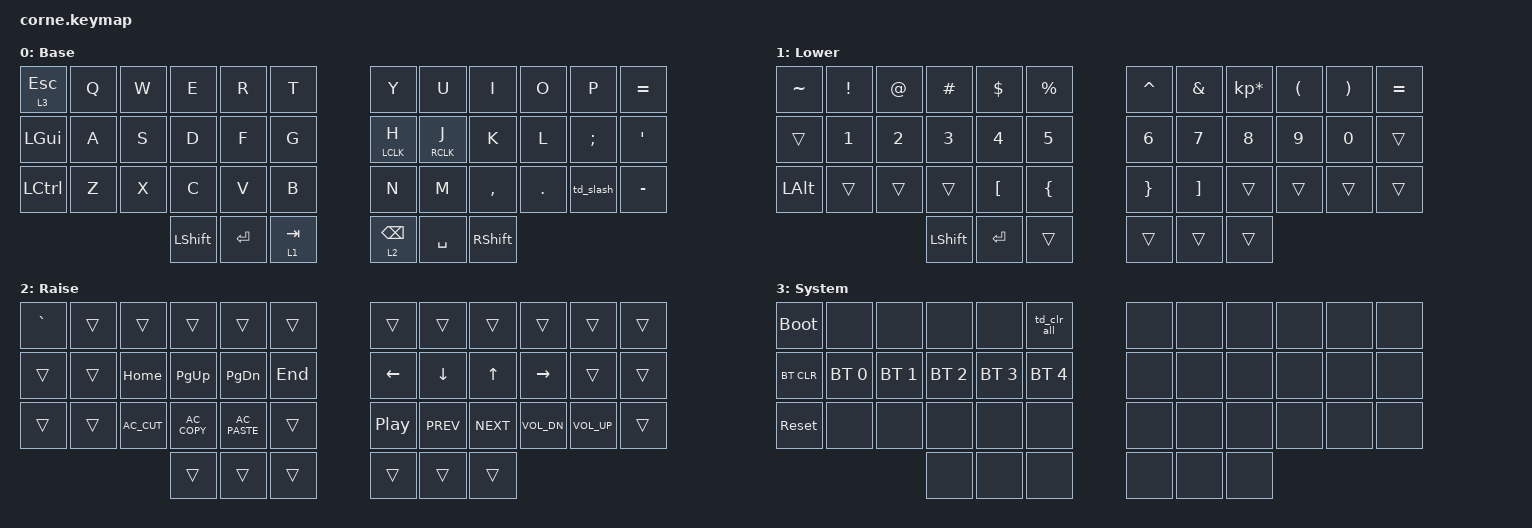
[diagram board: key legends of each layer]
/*
 * Copyright (c) 2020 The ZMK Contributors
 *
 * SPDX-License-Identifier: MIT
 */

#include <behaviors.dtsi>
#include <dt-bindings/zmk/keys.h>
#include <dt-bindings/zmk/bt.h>
#include <dt-bindings/zmk/pointing.h>

/ {
        behaviors {
                lt: layer_tap {
                        compatible = "zmk,behavior-hold-tap";
                        #binding-cells = <2>;
                        flavor = "tap-preferred";
                        tapping-term-ms = <200>;
                        quick-tap-ms = <175>;  // enables key repeat
                        require-prior-idle-ms = <125>;
                        bindings = <&mo>, <&kp>;
                };
                
                td_slash: tap_dance_slash {
                        compatible = "zmk,behavior-tap-dance";
                        #binding-cells = <0>;
                        tapping-term-ms = <200>;
                        bindings = <&kp FSLH>, <&kp BSLH>;
                };

                ht_esc_sys: hold_tap_esc_system {
                        compatible = "zmk,behavior-hold-tap";
                        #binding-cells = <2>;
                        flavor = "tap-preferred";
                        tapping-term-ms = <5000>;  // 5 second hold for system layer
                        bindings = <&mo>, <&kp>;
                };

                mm: mouse_hold_tap {  // tap = key, hold = mouse button (H/J clicks)
                        compatible = "zmk,behavior-hold-tap";
                        #binding-cells = <2>;
                        flavor = "tap-preferred";        // never misfire a click while typing
                        tapping-term-ms = <150>;         // shorter = snappier click, small misfire risk on word-initial h/j
                        require-prior-idle-ms = <150>;   // mid-word h/j stay letters
                        bindings = <&mkp>, <&kp>;
                };

                td_clr_all: tap_dance_bt_clr_all {
                        compatible = "zmk,behavior-tap-dance";
                        #binding-cells = <0>;
                        tapping-term-ms = <300>;
                        bindings = <&none>, <&bt BT_CLR_ALL>;  // double-tap required
                };
        };

        keymap {
                compatible = "zmk,keymap";

                default_layer {
// -----------------------------------------------------------------------------------------
// | ESC/SYS |  Q  |  W  |  E  |  R  |  T  |   |  Y  |  U   |  I  |  O  |  P  |  =   |
// |   GUI   |  A  |  S  |  D  |  F  |  G  |   | H/L< | J/R< |  K  |  L  |  ;  |  '   |
// |   CTL   |  Z  |  X  |  C  |  V  |  B  |   |  N  |  M   |  ,  |  .  | //\ |  -   |
//                      | SHIFT | ENTER | TAB/L |   | BSPC/R | SPACE | SHIFT |   (thumb rolls ball; hold H = left click/drag, hold J = right click)
                        display-name = "Base";
                        bindings = <
   &ht_esc_sys 3 ESC &kp Q &kp W &kp E &kp R &kp T   &kp Y &kp U &kp I      &kp O    &kp P    &kp EQUAL
   &kp LGUI  &kp A &kp S &kp D &kp F &kp G   &mm LCLK H &mm RCLK J &kp K      &kp L    &kp SEMI &kp SQT
   &kp LCTRL &kp Z &kp X &kp C &kp V &kp B   &kp N &kp M &kp COMMA  &kp DOT  &td_slash &kp MINUS
                        &kp LSHIFT  &kp ENTER  &lt 1 TAB   &lt 2 BSPC  &kp SPACE  &kp RSHIFT

                        >;
                };
                lower_layer {
// -----------------------------------------------------------------------------------------
// |   ~  |  !  |  @  |  #  |  $  |  %   |   |  ^  |  &  |  *  |  (  |  )  |  =   |
// | GUI  |  1  |  2  |  3  |  4  |  5   |   |  6  |  7  |  8  |  9  |  0  |      |
// | LALT |     |     |     |  [  |  {   |   |  }  |  ]  |     |     |     |      |
//                    | LSHFT| ENTER|    |   |     |     |     |
                        display-name = "Lower";
                        bindings = <
   &kp TILDE &kp EXCL &kp AT &kp HASH &kp DOLLAR &kp PRCNT   &kp CARET &kp AMPS &kp KP_MULTIPLY &kp LPAR &kp RPAR &kp EQUAL
   &trans    &kp N1   &kp N2 &kp N3   &kp N4     &kp N5      &kp N6    &kp N7   &kp N8          &kp N9   &kp N0   &trans
   &kp LALT  &trans   &trans &trans   &kp LBKT   &kp LBRC    &kp RBRC  &kp RBKT &trans          &trans    &trans  &trans
                          	        &kp LSHIFT   &kp ENTER    &trans         &trans    &trans   &trans
                        >;
                };

                raise_layer {
// -----------------------------------------------------------------------------------------
// |  `   |      |      |      |      |      |   |      |      |      |      |      |      |
// |      |      | HOME | PGUP | PGDN |  END |   | LEFT | DOWN |  UP  | RIGHT|      |      |
// |      |      | CUT  | COPY | PASTE|      |   | PLAY | PREV | NEXT | VOL- | VOL+ |      |
//               |      |      |      |      |   |      |      |      |
                        display-name = "Raise";
                        bindings = <
   &kp GRAVE &trans &trans       &trans        &trans         &trans   &trans           &trans     &trans     &trans       &trans       &trans
   &trans    &trans &kp HOME     &kp PG_UP     &kp PG_DN      &kp END  &kp LEFT         &kp DOWN   &kp UP     &kp RIGHT    &trans       &trans
   &trans    &trans &kp C_AC_CUT &kp C_AC_COPY &kp C_AC_PASTE &trans   &kp C_PLAY_PAUSE &kp C_PREV &kp C_NEXT &kp C_VOL_DN &kp C_VOL_UP &trans
                    	     &trans &trans   &trans   &trans   &trans    &trans
                        >;
                };

                system_layer {
// -----------------------------------------------------------------------------------------
// |BOOTLDR|      |      |      |      |CLRALL|   |      |      |      |      |      |      |
// | BTCLR | BT0  | BT1  | BT2  | BT3  | BT4  |   |      |      |      |      |      |      |
// |SYSRST |      |      |      |      |      |   |      |      |      |      |      |      |
//                       |      |      |      |   |      |      |      |
                        display-name = "System";
                        bindings = <
   &bootloader  &none        &none        &none        &none        &td_clr_all    &none &none &none &none &none &none
   &bt BT_CLR   &bt BT_SEL 0 &bt BT_SEL 1 &bt BT_SEL 2 &bt BT_SEL 3 &bt BT_SEL 4   &none &none &none &none &none &none
   &sys_reset   &none        &none        &none        &none        &none          &none &none &none &none &none &none
                                          &none        &none        &none          &none &none &none
                        >;
                };

                extra_3 {
                        status = "reserved";
                };
        };
};
